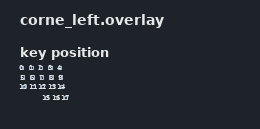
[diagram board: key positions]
/* File: config/boards/shields/corne/corne_left.overlay */

/ {
    chosen {
        /* Studio requires selecting a physical layout here */
        zmk,physical-layout = &corne_left_layout;

        /* Ensure the old matrix-transform isn't active for Studio builds */
        /delete-property/ zmk,matrix-transform;
    }

    /* Physical layout for the left half (18 keys: 3x5 + 3 thumbs) */
    corne_left_layout: physical_layout_left {
        compatible = "zmk,physical-layout";
        display-name = "Corne Left (3x5+3)";
        /* Use the Corne's existing mapping from physical index -> matrix */
        transform = <&default_transform>;

        /*
         * keys entries: < &key_physical_attrs  w  h   x   y   r   rx  ry >
         * Simple evenly-spaced grid for Studio’s preview. Order is row-major
         * (top->bottom, outer->inner), then thumbs (left->right).
         */

        keys = <
          /* Row 0 (top, 5 keys) */
          &key_physical_attrs 1 1   0   0   0   0   0
          &key_physical_attrs 1 1  19   0   0   0   0
          &key_physical_attrs 1 1  38   0   0   0   0
          &key_physical_attrs 1 1  57   0   0   0   0
          &key_physical_attrs 1 1  76   0   0   0   0

          /* Row 1 (middle, 5 keys) */
          &key_physical_attrs 1 1   2  19   0   0   0
          &key_physical_attrs 1 1  21  19   0   0   0
          &key_physical_attrs 1 1  40  19   0   0   0
          &key_physical_attrs 1 1  59  19   0   0   0
          &key_physical_attrs 1 1  78  19   0   0   0

          /* Row 2 (bottom, 5 keys) */
          &key_physical_attrs 1 1   4  38   0   0   0
          &key_physical_attrs 1 1  23  38   0   0   0
          &key_physical_attrs 1 1  42  38   0   0   0
          &key_physical_attrs 1 1  61  38   0   0   0
          &key_physical_attrs 1 1  80  38   0   0   0

          /* Thumbs (3 keys) */
          &key_physical_attrs 1 1  50  60   0   0   0
          &key_physical_attrs 1 1  69  60   0   0   0
          &key_physical_attrs 1 1  88  60   0   0   0
        >;
    };
};
